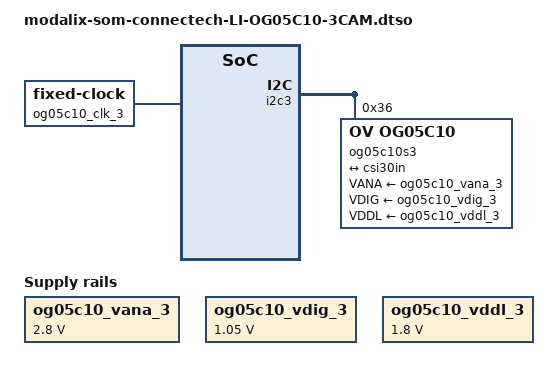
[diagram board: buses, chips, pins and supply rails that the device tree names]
// SPDX-License-Identifier: (GPL-2.0+ OR MIT)
/*
 * Copyright (c) 2026 SiMa ai
 */

/dts-v1/;
/plugin/;

#include "modalix-som-connectech-3CAM.dtsi"

&{/} {
    og05c10_vana_3: csi3_fixedregulator@0 {
        compatible = "regulator-fixed";
        regulator-name = "og05c10_vana_3";
        regulator-min-microvolt = <2800000>;
        regulator-max-microvolt = <2800000>;
        enable-active-high;
        startup-delay-us = <300000>;
        regulator-always-on;
    };

    og05c10_vdig_3: csi3_fixedregulator@1 {
        compatible = "regulator-fixed";
        regulator-name = "og05c10_vdig_3";
        regulator-min-microvolt = <1050000>;
        regulator-max-microvolt = <1050000>;
        regulator-always-on;
    };

    og05c10_vddl_3: csi3_fixedregulator@2 {
        compatible = "regulator-fixed";
        regulator-name = "og05c10_vddl_3";
        regulator-min-microvolt = <1800000>;
        regulator-max-microvolt = <1800000>;
        regulator-always-on;
    };

    og05c10_clk_3: csi3_camera-clk {
        compatible = "fixed-clock";
        #clock-cells = <0>;
        clock-frequency = <27000000>;
    };
};

&csi30in {
    clock-lanes = <0>;
    data-lanes = <1 2>;
    link-frequencies = /bits/ 64 <424000000>;
    remote-endpoint = <&cam30out>;
    clock-continuous;
};

&i2c3 {
        og05c10s3: og05c10@36 {
                compatible = "OV,og05c10";
                reg = <0x36>;

                clocks = <&og05c10_clk_3>;
                clock-names = "xclk";

                VANA-supply = <&og05c10_vana_3>;
                VDIG-supply = <&og05c10_vdig_3>;
                VDDL-supply = <&og05c10_vddl_3>;

                port@1 {
                        cam30out: endpoint@0 {
                                clock-lanes = <0>;
                                data-lanes = <1 2>;
                                link-frequencies = /bits/ 64 <424000000>;
                                remote-endpoint = <&csi30in>;
                                clock-continuous;
                        };
                };
        };
};
